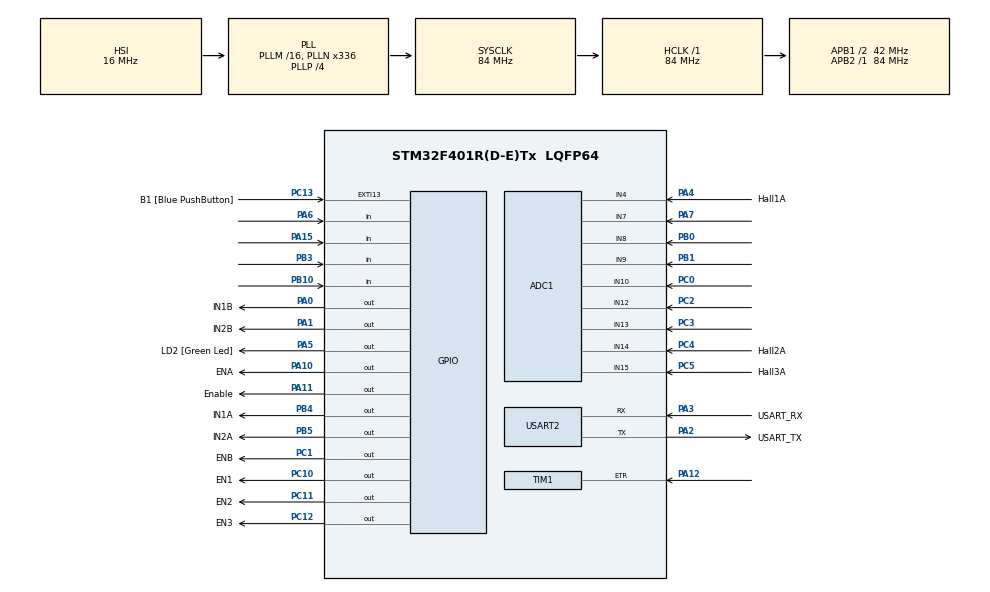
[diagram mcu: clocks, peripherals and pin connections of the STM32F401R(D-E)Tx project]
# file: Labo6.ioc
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ADC1.Channel-0\#ChannelRegularConversion=ADC_CHANNEL_4
ADC1.DMAContinuousRequests=ENABLE
ADC1.EOCSelection=ADC_EOC_SEQ_CONV
ADC1.ExternalTrigConv=ADC_EXTERNALTRIGCONV_T1_CC1
ADC1.ExternalTrigConvEdge=ADC_EXTERNALTRIGCONVEDGE_RISINGFALLING
ADC1.NbrOfConversion=1
ADC1.NbrOfConversionFlag=1
ADC1.Rank-0\#ChannelRegularConversion=1
ADC1.SamplingTime-0\#ChannelRegularConversion=ADC_SAMPLETIME_15CYCLES
ADC1.ScanConvMode=ENABLE
ADC1.master=1
Dma.ADC1.0.Direction=DMA_PERIPH_TO_MEMORY
Dma.ADC1.0.FIFOMode=DMA_FIFOMODE_DISABLE
Dma.ADC1.0.Instance=DMA2_Stream0
Dma.ADC1.0.MemDataAlignment=DMA_MDATAALIGN_HALFWORD
Dma.ADC1.0.MemInc=DMA_MINC_ENABLE
Dma.ADC1.0.Mode=DMA_CIRCULAR
Dma.ADC1.0.PeriphDataAlignment=DMA_PDATAALIGN_HALFWORD
Dma.ADC1.0.PeriphInc=DMA_PINC_DISABLE
Dma.ADC1.0.Priority=DMA_PRIORITY_LOW
Dma.Request0=ADC1
Mcu.Family=STM32F4
Mcu.Name=STM32F401R(D-E)Tx
Mcu.Package=LQFP64
Mcu.UserConstants=PERIPWM,1050
NVIC.DMA2_Stream0_IRQn=true\:0\:0\:false\:false\:true\:false\:true\:true
NVIC.PriorityGroup=NVIC_PRIORITYGROUP_0
PA0-WKUP.GPIO_Label=IN1B
PA0-WKUP.Signal=GPIO_Output
PA1.GPIO_Label=IN2B
PA1.Signal=GPIO_Output
PA10.GPIO_Label=ENA
PA10.Signal=GPIO_Output
PA11.GPIO_Label=Enable
PA11.Signal=GPIO_Output
PA12.Signal=S_TIM1_ETR
PA13.GPIO_Label=TMS
PA13.Mode=Serial_Wire
PA13.Signal=SYS_JTMS-SWDIO
PA14.GPIO_Label=TCK
PA14.Mode=Serial_Wire
PA14.Signal=SYS_JTCK-SWCLK
PA15.Signal=GPIO_Input
PA2.GPIO_Label=USART_TX
PA2.GPIO_Mode=GPIO_MODE_AF_PP
PA2.GPIO_PuPd=GPIO_NOPULL
PA2.GPIO_Speed=GPIO_SPEED_FREQ_LOW
PA2.Mode=Asynchronous
PA2.Signal=USART2_TX
PA3.GPIO_Label=USART_RX
PA3.GPIO_Mode=GPIO_MODE_AF_PP
PA3.GPIO_PuPd=GPIO_NOPULL
PA3.GPIO_Speed=GPIO_SPEED_FREQ_LOW
PA3.Mode=Asynchronous
PA3.Signal=USART2_RX
PA4.GPIO_Label=Hall1A
PA4.Signal=ADCx_IN4
PA5.GPIO_Label=LD2 [Green Led]
PA5.GPIO_Mode=GPIO_MODE_OUTPUT_PP
PA5.GPIO_PuPd=GPIO_NOPULL
PA5.GPIO_Speed=GPIO_SPEED_FREQ_LOW
PA5.Signal=GPIO_Output
PA6.Signal=GPIO_Input
PA7.Signal=ADCx_IN7
PB0.Signal=ADCx_IN8
PB1.Signal=ADCx_IN9
PB10.Signal=GPIO_Input
PB3.Signal=GPIO_Input
PB4.GPIO_Label=IN1A
PB4.Signal=GPIO_Output
PB5.GPIO_Label=IN2A
PB5.Signal=GPIO_Output
PC0.Signal=ADCx_IN10
PC1.GPIO_Label=ENB
PC1.Signal=GPIO_Output
PC10.GPIO_Label=EN1
PC10.Signal=GPIO_Output
PC11.GPIO_Label=EN2
PC11.Signal=GPIO_Output
PC12.GPIO_Label=EN3
PC12.Signal=GPIO_Output
PC13-ANTI_TAMP.GPIO_Label=B1 [Blue PushButton]
PC13-ANTI_TAMP.GPIO_ModeDefaultEXTI=GPIO_MODE_IT_FALLING
PC13-ANTI_TAMP.GPIO_PuPd=GPIO_NOPULL
PC13-ANTI_TAMP.Signal=GPXTI13
PC14-OSC32_IN.Mode=LSE-External-Oscillator
PC14-OSC32_IN.Signal=RCC_OSC32_IN
PC15-OSC32_OUT.Mode=LSE-External-Oscillator
PC15-OSC32_OUT.Signal=RCC_OSC32_OUT
PC2.Signal=ADCx_IN12
PC3.Signal=ADCx_IN13
PC4.GPIO_Label=Hall2A
PC4.Signal=ADCx_IN14
PC5.GPIO_Label=Hall3A
PC5.Signal=ADCx_IN15
PH0\ -\ OSC_IN.Mode=HSE-External-Clock-Source
PH0\ -\ OSC_IN.Signal=RCC_OSC_IN
PH1\ -\ OSC_OUT.Mode=HSE-External-Clock-Source
PH1\ -\ OSC_OUT.Signal=RCC_OSC_OUT
ProjectManager.HeapSize=0x200
ProjectManager.StackSize=0x400
ProjectManager.TargetToolchain=STM32CubeIDE
RCC.48MHZClocksFreq_Value=48000000
RCC.AHBFreq_Value=84000000
RCC.APB1CLKDivider=RCC_HCLK_DIV2
RCC.APB1Freq_Value=42000000
RCC.APB1TimFreq_Value=84000000
RCC.APB2Freq_Value=84000000
RCC.APB2TimFreq_Value=84000000
RCC.CortexFreq_Value=84000000
RCC.HCLKFreq_Value=84000000
RCC.HSE_VALUE=8000000
RCC.HSI_VALUE=16000000
RCC.PLLN=336
RCC.PLLP=RCC_PLLP_DIV4
RCC.PLLQ=7
RCC.SYSCLKFreq_VALUE=84000000
RCC.SYSCLKSource=RCC_SYSCLKSOURCE_PLLCLK
RCC.VCOOutputFreq_Value=336000000
SH.ADCx_IN10.0=ADC1_IN10,IN10
SH.ADCx_IN12.0=ADC1_IN12,IN12
SH.ADCx_IN13.0=ADC1_IN13,IN13
SH.ADCx_IN14.0=ADC1_IN14,IN14
SH.ADCx_IN15.0=ADC1_IN15,IN15
SH.ADCx_IN4.0=ADC1_IN4,IN4
SH.ADCx_IN7.0=ADC1_IN7,IN7
SH.ADCx_IN8.0=ADC1_IN8,IN8
SH.ADCx_IN9.0=ADC1_IN9,IN9
SH.S_TIM1_ETR.0=TIM1_ETR,ETR-as-clearing-source
TIM1.Channel-Output\ Compare1\ No\ Output=TIM_CHANNEL_1
TIM1.CounterMode=TIM_COUNTERMODE_CENTERALIGNED1
TIM1.OCMode_1=TIM_OCMODE_TOGGLE
TIM1.Period=PERIPWM
TIM1.TIM_MasterOutputTrigger=TIM_TRGO_ENABLE
TIM1.TIM_MasterSlaveMode=TIM_MASTERSLAVEMODE_DISABLE
TIM3.CounterMode=TIM_COUNTERMODE_CENTERALIGNED1
TIM3.Period=PERIPWM
TIM3.TIM_MasterOutputTrigger=TIM_TRGO_UPDATE
TIM3.TIM_MasterSlaveMode=TIM_MASTERSLAVEMODE_ENABLE
TIM4.Channel-Output\ Compare4\ No\ Output=TIM_CHANNEL_4
TIM4.CounterMode=TIM_COUNTERMODE_CENTERALIGNED1
TIM4.OCMode_4=TIM_OCMODE_TOGGLE
TIM4.Period=PERIPWM
TIM4.Prescaler=1
USART2.VirtualMode=VM_ASYNC
VP_TIM1_VS_ClockSourceINT.Mode=Internal
VP_TIM1_VS_no_output1.Mode=Output Compare1 No Output
VP_TIM3_VS_ClockSourceINT.Mode=Internal
VP_TIM4_VS_ClockSourceINT.Mode=Internal
VP_TIM4_VS_ClockSourceITR.Mode=TriggerSource_ITR0
VP_TIM4_VS_ControllerModeGated.Mode=Gated Mode
VP_TIM4_VS_no_output4.Mode=Output Compare4 No Output
board=NUCLEO-F401RE

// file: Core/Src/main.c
/* USER CODE BEGIN Header */
/**
  ******************************************************************************
  * @file           : main.c
  * @brief          : Main program body
  ******************************************************************************
  * @attention
  *
  * Copyright (c) 2022 STMicroelectronics.
  * All rights reserved.
  *
  * This software is licensed under terms that can be found in the LICENSE file
  * in the root directory of this software component.
  * If no LICENSE file comes with this software, it is provided AS-IS.
  *
  ******************************************************************************
  */
/* USER CODE END Header */
#include "main.h"

ADC_HandleTypeDef hadc1;
DMA_HandleTypeDef hdma_adc1;

TIM_HandleTypeDef htim1;
TIM_HandleTypeDef htim3;
TIM_HandleTypeDef htim4;

UART_HandleTypeDef huart2;

void SystemClock_Config(void);
static void MX_GPIO_Init(void);
static void MX_USART2_UART_Init(void);
static void MX_DMA_Init(void);
static void MX_ADC1_Init(void);
static void MX_TIM1_Init(void);
static void MX_TIM3_Init(void);
static void MX_TIM4_Init(void);

/* USER CODE BEGIN 0 */
uint16_t results[1];
uint8_t single_phase_EN[4] = {0};
uint8_t single_phase_IN[4] = {0};
uint8_t double_phase_EN[4] = {0};
uint8_t double_phase_IN[4] = {0};
/* USER CODE END 0 */

int main(void)
{

  /* MCU Configuration--------------------------------------------------------*/

  /* Reset of all peripherals, Initializes the Flash interface and the Systick. */
  HAL_Init();

  /* Configure the system clock */
  SystemClock_Config();

  /* Initialize all configured peripherals */
  MX_GPIO_Init();
  MX_USART2_UART_Init();
  MX_DMA_Init();
  MX_ADC1_Init();
  MX_TIM1_Init();
  MX_TIM3_Init();
  MX_TIM4_Init();
  /* USER CODE BEGIN 2 */
  HAL_TIM_OC_Start(&htim1, TIM_CHANNEL_1);
  HAL_ADC_Start_DMA(&hadc1, (uint32_t*) results, 1);

  single_phase_EN[0] = 0b10;
  single_phase_EN[1] = 0b01;
  single_phase_EN[2] = 0b10;
  single_phase_EN[3] = 0b01;
  single_phase_IN[0] = 0b1000;
  single_phase_IN[1] = 0b0010;
  single_phase_IN[2] = 0b0100;
  single_phase_IN[3] = 0b0001;
//  double_phase_EN = [1];
//  double_phase_IN = [2];
  /* USER CODE END 2 */

  /* Infinite loop */
  while (1)
  {

  }
}

void SystemClock_Config(void)
{
  RCC_OscInitTypeDef RCC_OscInitStruct = {0};
  RCC_ClkInitTypeDef RCC_ClkInitStruct = {0};

  /** Configure the main internal regulator output voltage
  */
  __HAL_RCC_PWR_CLK_ENABLE();
  __HAL_PWR_VOLTAGESCALING_CONFIG(PWR_REGULATOR_VOLTAGE_SCALE2);

  /** Initializes the RCC Oscillators according to the specified parameters
  * in the RCC_OscInitTypeDef structure.
  */
  RCC_OscInitStruct.OscillatorType = RCC_OSCILLATORTYPE_HSI;
  RCC_OscInitStruct.HSIState = RCC_HSI_ON;
  RCC_OscInitStruct.HSICalibrationValue = RCC_HSICALIBRATION_DEFAULT;
  RCC_OscInitStruct.PLL.PLLState = RCC_PLL_ON;
  RCC_OscInitStruct.PLL.PLLSource = RCC_PLLSOURCE_HSI;
  RCC_OscInitStruct.PLL.PLLM = 16;
  RCC_OscInitStruct.PLL.PLLN = 336;
  RCC_OscInitStruct.PLL.PLLP = RCC_PLLP_DIV4;
  RCC_OscInitStruct.PLL.PLLQ = 7;
  if (HAL_RCC_OscConfig(&RCC_OscInitStruct) != HAL_OK)
  {
    Error_Handler();
  }

  /** Initializes the CPU, AHB and APB buses clocks
  */
  RCC_ClkInitStruct.ClockType = RCC_CLOCKTYPE_HCLK|RCC_CLOCKTYPE_SYSCLK
                              |RCC_CLOCKTYPE_PCLK1|RCC_CLOCKTYPE_PCLK2;
  RCC_ClkInitStruct.SYSCLKSource = RCC_SYSCLKSOURCE_PLLCLK;
  RCC_ClkInitStruct.AHBCLKDivider = RCC_SYSCLK_DIV1;
  RCC_ClkInitStruct.APB1CLKDivider = RCC_HCLK_DIV2;
  RCC_ClkInitStruct.APB2CLKDivider = RCC_HCLK_DIV1;

  if (HAL_RCC_ClockConfig(&RCC_ClkInitStruct, FLASH_LATENCY_2) != HAL_OK)
  {
    Error_Handler();
  }
}

static void MX_ADC1_Init(void)
{

  ADC_ChannelConfTypeDef sConfig = {0};

  /** Configure the global features of the ADC (Clock, Resolution, Data Alignment and number of conversion)
  */
  hadc1.Instance = ADC1;
  hadc1.Init.ClockPrescaler = ADC_CLOCK_SYNC_PCLK_DIV4;
  hadc1.Init.Resolution = ADC_RESOLUTION_12B;
  hadc1.Init.ScanConvMode = ENABLE;
  hadc1.Init.ContinuousConvMode = DISABLE;
  hadc1.Init.DiscontinuousConvMode = DISABLE;
  hadc1.Init.ExternalTrigConvEdge = ADC_EXTERNALTRIGCONVEDGE_RISINGFALLING;
  hadc1.Init.ExternalTrigConv = ADC_EXTERNALTRIGCONV_T1_CC1;
  hadc1.Init.DataAlign = ADC_DATAALIGN_RIGHT;
  hadc1.Init.NbrOfConversion = 1;
  hadc1.Init.DMAContinuousRequests = ENABLE;
  hadc1.Init.EOCSelection = ADC_EOC_SEQ_CONV;
  if (HAL_ADC_Init(&hadc1) != HAL_OK)
  {
    Error_Handler();
  }

  /** Configure for the selected ADC regular channel its corresponding rank in the sequencer and its sample time.
  */
  sConfig.Channel = ADC_CHANNEL_4;
  sConfig.Rank = 1;
  sConfig.SamplingTime = ADC_SAMPLETIME_15CYCLES;
  if (HAL_ADC_ConfigChannel(&hadc1, &sConfig) != HAL_OK)
  {
    Error_Handler();
  }

}

static void MX_TIM1_Init(void)
{

  TIM_ClockConfigTypeDef sClockSourceConfig = {0};
  TIM_MasterConfigTypeDef sMasterConfig = {0};
  TIM_OC_InitTypeDef sConfigOC = {0};
  TIM_BreakDeadTimeConfigTypeDef sBreakDeadTimeConfig = {0};

  htim1.Instance = TIM1;
  htim1.Init.Prescaler = 0;
  htim1.Init.CounterMode = TIM_COUNTERMODE_CENTERALIGNED1;
  htim1.Init.Period = PERIPWM;
  htim1.Init.ClockDivision = TIM_CLOCKDIVISION_DIV1;
  htim1.Init.RepetitionCounter = 0;
  htim1.Init.AutoReloadPreload = TIM_AUTORELOAD_PRELOAD_DISABLE;
  if (HAL_TIM_Base_Init(&htim1) != HAL_OK)
  {
    Error_Handler();
  }
  sClockSourceConfig.ClockSource = TIM_CLOCKSOURCE_INTERNAL;
  if (HAL_TIM_ConfigClockSource(&htim1, &sClockSourceConfig) != HAL_OK)
  {
    Error_Handler();
  }
  if (HAL_TIM_OC_Init(&htim1) != HAL_OK)
  {
    Error_Handler();
  }
  sMasterConfig.MasterOutputTrigger = TIM_TRGO_ENABLE;
  sMasterConfig.MasterSlaveMode = TIM_MASTERSLAVEMODE_DISABLE;
  if (HAL_TIMEx_MasterConfigSynchronization(&htim1, &sMasterConfig) != HAL_OK)
  {
    Error_Handler();
  }
  sConfigOC.OCMode = TIM_OCMODE_TOGGLE;
  sConfigOC.Pulse = 0;
  sConfigOC.OCPolarity = TIM_OCPOLARITY_HIGH;
  sConfigOC.OCNPolarity = TIM_OCNPOLARITY_HIGH;
  sConfigOC.OCFastMode = TIM_OCFAST_DISABLE;
  sConfigOC.OCIdleState = TIM_OCIDLESTATE_RESET;
  sConfigOC.OCNIdleState = TIM_OCNIDLESTATE_RESET;
  if (HAL_TIM_OC_ConfigChannel(&htim1, &sConfigOC, TIM_CHANNEL_1) != HAL_OK)
  {
    Error_Handler();
  }
  sBreakDeadTimeConfig.OffStateRunMode = TIM_OSSR_DISABLE;
  sBreakDeadTimeConfig.OffStateIDLEMode = TIM_OSSI_DISABLE;
  sBreakDeadTimeConfig.LockLevel = TIM_LOCKLEVEL_OFF;
  sBreakDeadTimeConfig.DeadTime = 0;
  sBreakDeadTimeConfig.BreakState = TIM_BREAK_DISABLE;
  sBreakDeadTimeConfig.BreakPolarity = TIM_BREAKPOLARITY_HIGH;
  sBreakDeadTimeConfig.AutomaticOutput = TIM_AUTOMATICOUTPUT_DISABLE;
  if (HAL_TIMEx_ConfigBreakDeadTime(&htim1, &sBreakDeadTimeConfig) != HAL_OK)
  {
    Error_Handler();
  }

}

static void MX_TIM3_Init(void)
{

  TIM_ClockConfigTypeDef sClockSourceConfig = {0};
  TIM_MasterConfigTypeDef sMasterConfig = {0};

  htim3.Instance = TIM3;
  htim3.Init.Prescaler = 0;
  htim3.Init.CounterMode = TIM_COUNTERMODE_CENTERALIGNED1;
  htim3.Init.Period = PERIPWM;
  htim3.Init.ClockDivision = TIM_CLOCKDIVISION_DIV1;
  htim3.Init.AutoReloadPreload = TIM_AUTORELOAD_PRELOAD_DISABLE;
  if (HAL_TIM_Base_Init(&htim3) != HAL_OK)
  {
    Error_Handler();
  }
  sClockSourceConfig.ClockSource = TIM_CLOCKSOURCE_INTERNAL;
  if (HAL_TIM_ConfigClockSource(&htim3, &sClockSourceConfig) != HAL_OK)
  {
    Error_Handler();
  }
  sMasterConfig.MasterOutputTrigger = TIM_TRGO_UPDATE;
  sMasterConfig.MasterSlaveMode = TIM_MASTERSLAVEMODE_ENABLE;
  if (HAL_TIMEx_MasterConfigSynchronization(&htim3, &sMasterConfig) != HAL_OK)
  {
    Error_Handler();
  }

}

static void MX_TIM4_Init(void)
{

  TIM_ClockConfigTypeDef sClockSourceConfig = {0};
  TIM_SlaveConfigTypeDef sSlaveConfig = {0};
  TIM_MasterConfigTypeDef sMasterConfig = {0};
  TIM_OC_InitTypeDef sConfigOC = {0};

  htim4.Instance = TIM4;
  htim4.Init.Prescaler = 1;
  htim4.Init.CounterMode = TIM_COUNTERMODE_CENTERALIGNED1;
  htim4.Init.Period = PERIPWM;
  htim4.Init.ClockDivision = TIM_CLOCKDIVISION_DIV1;
  htim4.Init.AutoReloadPreload = TIM_AUTORELOAD_PRELOAD_DISABLE;
  if (HAL_TIM_Base_Init(&htim4) != HAL_OK)
  {
    Error_Handler();
  }
  sClockSourceConfig.ClockSource = TIM_CLOCKSOURCE_INTERNAL;
  if (HAL_TIM_ConfigClockSource(&htim4, &sClockSourceConfig) != HAL_OK)
  {
    Error_Handler();
  }
  if (HAL_TIM_OC_Init(&htim4) != HAL_OK)
  {
    Error_Handler();
  }
  sSlaveConfig.SlaveMode = TIM_SLAVEMODE_GATED;
  sSlaveConfig.InputTrigger = TIM_TS_ITR0;
  if (HAL_TIM_SlaveConfigSynchro(&htim4, &sSlaveConfig) != HAL_OK)
  {
    Error_Handler();
  }
  sMasterConfig.MasterOutputTrigger = TIM_TRGO_RESET;
  sMasterConfig.MasterSlaveMode = TIM_MASTERSLAVEMODE_DISABLE;
  if (HAL_TIMEx_MasterConfigSynchronization(&htim4, &sMasterConfig) != HAL_OK)
  {
    Error_Handler();
  }
  sConfigOC.OCMode = TIM_OCMODE_TOGGLE;
  sConfigOC.Pulse = 0;
  sConfigOC.OCPolarity = TIM_OCPOLARITY_HIGH;
  sConfigOC.OCFastMode = TIM_OCFAST_DISABLE;
  if (HAL_TIM_OC_ConfigChannel(&htim4, &sConfigOC, TIM_CHANNEL_4) != HAL_OK)
  {
    Error_Handler();
  }

}

static void MX_USART2_UART_Init(void)
{

  huart2.Instance = USART2;
  huart2.Init.BaudRate = 115200;
  huart2.Init.WordLength = UART_WORDLENGTH_8B;
  huart2.Init.StopBits = UART_STOPBITS_1;
  huart2.Init.Parity = UART_PARITY_NONE;
  huart2.Init.Mode = UART_MODE_TX_RX;
  huart2.Init.HwFlowCtl = UART_HWCONTROL_NONE;
  huart2.Init.OverSampling = UART_OVERSAMPLING_16;
  if (HAL_UART_Init(&huart2) != HAL_OK)
  {
    Error_Handler();
  }

}

static void MX_DMA_Init(void)
{

  /* DMA controller clock enable */
  __HAL_RCC_DMA2_CLK_ENABLE();

  /* DMA interrupt init */
  /* DMA2_Stream0_IRQn interrupt configuration */
  HAL_NVIC_SetPriority(DMA2_Stream0_IRQn, 0, 0);
  HAL_NVIC_EnableIRQ(DMA2_Stream0_IRQn);

}

static void MX_GPIO_Init(void)
{
  GPIO_InitTypeDef GPIO_InitStruct = {0};

  /* GPIO Ports Clock Enable */
  __HAL_RCC_GPIOC_CLK_ENABLE();
  __HAL_RCC_GPIOH_CLK_ENABLE();
  __HAL_RCC_GPIOA_CLK_ENABLE();
  __HAL_RCC_GPIOB_CLK_ENABLE();

  /*Configure GPIO pin Output Level */
  HAL_GPIO_WritePin(GPIOC, ENB_Pin|EN1_Pin|EN2_Pin|EN3_Pin, GPIO_PIN_RESET);

  /*Configure GPIO pin Output Level */
  HAL_GPIO_WritePin(GPIOA, IN1B_Pin|IN2B_Pin|LD2_Pin|ENA_Pin
                          |Enable_Pin, GPIO_PIN_RESET);

  /*Configure GPIO pin Output Level */
  HAL_GPIO_WritePin(GPIOB, IN1A_Pin|IN2A_Pin, GPIO_PIN_RESET);

  /*Configure GPIO pin : B1_Pin */
  GPIO_InitStruct.Pin = B1_Pin;
  GPIO_InitStruct.Mode = GPIO_MODE_IT_FALLING;
  GPIO_InitStruct.Pull = GPIO_NOPULL;
  HAL_GPIO_Init(B1_GPIO_Port, &GPIO_InitStruct);

  /*Configure GPIO pins : ENB_Pin EN1_Pin EN2_Pin EN3_Pin */
  GPIO_InitStruct.Pin = ENB_Pin|EN1_Pin|EN2_Pin|EN3_Pin;
  GPIO_InitStruct.Mode = GPIO_MODE_OUTPUT_PP;
  GPIO_InitStruct.Pull = GPIO_NOPULL;
  GPIO_InitStruct.Speed = GPIO_SPEED_FREQ_LOW;
  HAL_GPIO_Init(GPIOC, &GPIO_InitStruct);

  /*Configure GPIO pins : IN1B_Pin IN2B_Pin LD2_Pin ENA_Pin
                           Enable_Pin */
  GPIO_InitStruct.Pin = IN1B_Pin|IN2B_Pin|LD2_Pin|ENA_Pin
                          |Enable_Pin;
  GPIO_InitStruct.Mode = GPIO_MODE_OUTPUT_PP;
  GPIO_InitStruct.Pull = GPIO_NOPULL;
  GPIO_InitStruct.Speed = GPIO_SPEED_FREQ_LOW;
  HAL_GPIO_Init(GPIOA, &GPIO_InitStruct);

  /*Configure GPIO pins : PA6 PA15 */
  GPIO_InitStruct.Pin = GPIO_PIN_6|GPIO_PIN_15;
  GPIO_InitStruct.Mode = GPIO_MODE_INPUT;
  GPIO_InitStruct.Pull = GPIO_NOPULL;
  HAL_GPIO_Init(GPIOA, &GPIO_InitStruct);

  /*Configure GPIO pins : PB10 PB3 */
  GPIO_InitStruct.Pin = GPIO_PIN_10|GPIO_PIN_3;
  GPIO_InitStruct.Mode = GPIO_MODE_INPUT;
  GPIO_InitStruct.Pull = GPIO_NOPULL;
  HAL_GPIO_Init(GPIOB, &GPIO_InitStruct);

  /*Configure GPIO pins : IN1A_Pin IN2A_Pin */
  GPIO_InitStruct.Pin = IN1A_Pin|IN2A_Pin;
  GPIO_InitStruct.Mode = GPIO_MODE_OUTPUT_PP;
  GPIO_InitStruct.Pull = GPIO_NOPULL;
  GPIO_InitStruct.Speed = GPIO_SPEED_FREQ_LOW;
  HAL_GPIO_Init(GPIOB, &GPIO_InitStruct);

}

/* USER CODE BEGIN 4 */
void HAL_ADC_ConvCpltCallback(ADC_HandleTypeDef* AdcHandle){
	static uint16_t cnt = 0;
	static uint8_t tab_cnt = 0;
	static int pos = 0;
	static const int consigne = 100;
	if (cnt > 50) {
	  HAL_GPIO_WritePin(EN1_GPIO_Port, EN1_Pin, (single_phase_EN[tab_cnt % 4] >> 1) && 0x01);
	  HAL_GPIO_WritePin(EN2_GPIO_Port, EN2_Pin, single_phase_EN[tab_cnt % 4] && 0x01);
	  HAL_GPIO_WritePin(IN1A_GPIO_Port, IN1A_Pin, (single_phase_IN[tab_cnt % 4] >> 3) && 0x01);
	  HAL_GPIO_WritePin(IN2A_GPIO_Port, IN2A_Pin, (single_phase_IN[tab_cnt % 4] >> 2) && 0x01);
	  HAL_GPIO_WritePin(IN1B_GPIO_Port, IN1B_Pin, (single_phase_IN[tab_cnt % 4] >> 1) && 0x01);
	  HAL_GPIO_WritePin(IN2B_GPIO_Port, IN2B_Pin, single_phase_IN[tab_cnt % 4] && 0x01);
	  HAL_GPIO_TogglePin(LD2_GPIO_Port, LD2_Pin);

	  if (pos < consigne ){
		  ++tab_cnt;
	  	  ++pos;
	  } else if (pos > consigne ){
		  --tab_cnt;
	  	  --pos;
	  }
	  cnt = 0;
	} else {
		cnt++;
	}
}
/* USER CODE END 4 */

void Error_Handler(void)
{
  __disable_irq();
  while (1)
  {
  }
}
